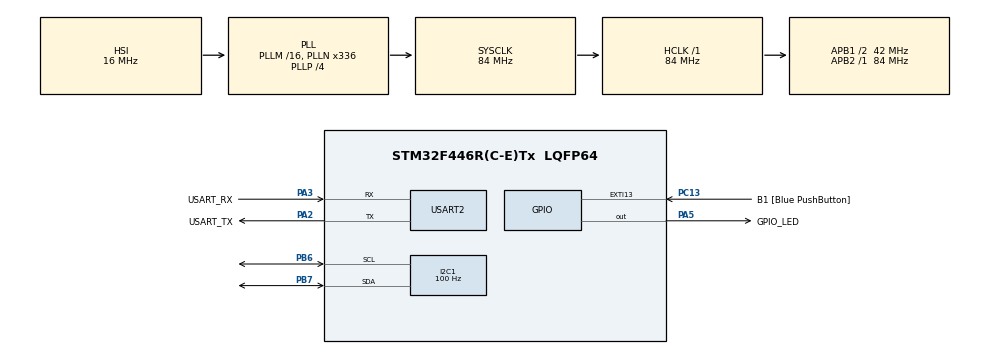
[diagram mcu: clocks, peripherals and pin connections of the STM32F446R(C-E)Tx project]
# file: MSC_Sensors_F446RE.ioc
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I2C1.ClockSpeed=100
Mcu.Family=STM32F4
Mcu.Name=STM32F446R(C-E)Tx
Mcu.Package=LQFP64
NVIC.PriorityGroup=NVIC_PRIORITYGROUP_0
PA13.GPIO_Label=TMS
PA13.Mode=Serial_Wire
PA13.Signal=SYS_JTMS-SWDIO
PA14.GPIO_Label=TCK
PA14.Mode=Serial_Wire
PA14.Signal=SYS_JTCK-SWCLK
PA2.GPIO_Label=USART_TX
PA2.Mode=Asynchronous
PA2.Signal=USART2_TX
PA3.GPIO_Label=USART_RX
PA3.Mode=Asynchronous
PA3.Signal=USART2_RX
PA5.GPIO_Label=GPIO_LED
PA5.Signal=GPIO_Output
PB6.Mode=I2C
PB6.Signal=I2C1_SCL
PB7.Mode=I2C
PB7.Signal=I2C1_SDA
PC13.GPIO_Label=B1 [Blue PushButton]
PC13.GPIO_ModeDefaultEXTI=GPIO_MODE_IT_FALLING
PC13.Signal=GPXTI13
PC14-OSC32_IN.Mode=LSE-External-Oscillator
PC14-OSC32_IN.Signal=RCC_OSC32_IN
PC15-OSC32_OUT.Mode=LSE-External-Oscillator
PC15-OSC32_OUT.Signal=RCC_OSC32_OUT
PH0-OSC_IN.Mode=HSE-External-Oscillator
PH0-OSC_IN.Signal=RCC_OSC_IN
PH1-OSC_OUT.Mode=HSE-External-Oscillator
PH1-OSC_OUT.Signal=RCC_OSC_OUT
ProjectManager.HeapSize=0x200
ProjectManager.StackSize=0x400
ProjectManager.TargetToolchain=STM32CubeIDE
RCC.48MHZClocksFreq_Value=84000000
RCC.AHBFreq_Value=84000000
RCC.APB1CLKDivider=RCC_HCLK_DIV2
RCC.APB1Freq_Value=42000000
RCC.APB1TimFreq_Value=84000000
RCC.APB2Freq_Value=84000000
RCC.APB2TimFreq_Value=84000000
RCC.CortexFreq_Value=84000000
RCC.FLatency-AdvancedSettings=FLASH_LATENCY_2
RCC.HCLKFreq_Value=84000000
RCC.HSE_VALUE=8000000
RCC.HSI_VALUE=16000000
RCC.PLLN=336
RCC.PLLP=RCC_PLLP_DIV4
RCC.SYSCLKFreq_VALUE=84000000
RCC.SYSCLKSource=RCC_SYSCLKSOURCE_PLLCLK
RCC.USBFreq_Value=168000000
RCC.VCOOutputFreq_Value=336000000
USART2.VirtualMode=VM_ASYNC
board=NUCLEO-F446RE

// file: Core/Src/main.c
/* USER CODE BEGIN Header */
/**
  ******************************************************************************
  * @file           : main.c
  * @brief          : Main program body
  ******************************************************************************
  * @attention
  *
  * Copyright (c) 2023 STMicroelectronics.
  * All rights reserved.
  *
  * This software is licensed under terms that can be found in the LICENSE file
  * in the root directory of this software component.
  * If no LICENSE file comes with this software, it is provided AS-IS.
  *
  ******************************************************************************
  */
/* USER CODE END Header */
#include "main.h"

/* USER CODE BEGIN Includes */
//#include "../../Utilities/Fonts/fonts.h"
//#include "../../Drivers/BSP/inc/stm32746g_discovery.h"
//#include "../../Drivers/BSP/inc/stm32746g_discovery_sdram.h"
//#include "../../Drivers/BSP/inc/stm32746g_discovery_ts.h"
//#include "../../Drivers/BSP/inc/stm32746g_discovery_lcd.h"
//#include "../../Drivers/BSP/inc/stm32746g_discovery_lcd.h"
#include "stdio.h"
#include <math.h>
#include "Const.h"
/* USER CODE END Includes */

/* USER CODE BEGIN PD */
//HAL_I2C_Mem_Read(&hi2c1,MPU_ADDRESS,ID_ADDRESS,1,&MPU_identity,1,10
#define ID_ADDRESS 0x75
#define MPU_ADDRESS 0xD0
#define ID_VALUE_MPU 0x
/* USER CODE END PD */

I2C_HandleTypeDef hi2c1;

UART_HandleTypeDef huart2;

/* USER CODE BEGIN PV */

char mess[30];
int devAdd[256];
uint8_t MPU_identity;
double TempReceived;
double AccelReceived[3];
double SpeedReceived[3];
double MagReceived[3];

double Accel;
double Speed;
double Mag;
double offset;

/* USER CODE END PV */

void SystemClock_Config(void);
static void MX_GPIO_Init(void);
static void MX_USART2_UART_Init(void);
static void MX_I2C1_Init(void);

/* USER CODE BEGIN 0 */
int __io_putchar(int ch)
{
	HAL_UART_Transmit(&huart2, (uint8_t*)&ch, 1, HAL_MAX_DELAY);

	return ch;
}
/* USER CODE END 0 */

int main(void)
{

  /* MCU Configuration--------------------------------------------------------*/

  /* Reset of all peripherals, Initializes the Flash interface and the Systick. */
  HAL_Init();

  /* Configure the system clock */
  SystemClock_Config();

  /* Initialize all configured peripherals */
  MX_GPIO_Init();
  MX_USART2_UART_Init();
  MX_I2C1_Init();
  /* USER CODE BEGIN 2 */

	//===================================================================================================
	//Allumage/Exctinction de la LED
	HAL_GPIO_WritePin(GPIO_LED_GPIO_Port,GPIO_LED_Pin,GPIO_PIN_SET);
	HAL_Delay(1000);
	HAL_GPIO_WritePin(GPIO_LED_GPIO_Port,GPIO_LED_Pin,GPIO_PIN_RESET);
	//===================================================================================================

	//Initialisation du capteur

	Init(&hi2c1);

	//===================================================================================================
	//Affichage des adresses des péiphériques connectés à l'I2C
	int c=0;
	int i=0;
	printf("\r\nList of devices:\r\n");
	for(i=0; i<256; i++)
	{
		if(HAL_I2C_IsDeviceReady(&hi2c1,i,10,20)==HAL_OK)
		{
			devAdd[c] = i;
			printf("%d\r\n",devAdd[c]);
			c++;
		}
	}

	printf("\r\n");
	//===================================================================================================

	//===================================================================================================

	//Identité du capteur

	printf("Who Am I?\r\n");
	if(HAL_I2C_Mem_Read(&hi2c1,MPU_ADDRESS,ID_ADDRESS,1,&MPU_identity,1,10)!=HAL_OK)
	{
		printf("Error : I don't know who I am...\r\n");
		Error_Handler();
	}
	printf("%d\r\n",MPU_identity);

	if(MPU_identity == 0x71)
	{
		printf("I am the MPU-9250, nice to meet you\r\n");
	}
	else
	{
		printf("I am not the MPU-9250\r\n");
	}

	//GetAccelOffset(&hi2c1);

	Measure_T(&hi2c1, &TempReceived);
	Measure_A(&hi2c1, &AccelReceived);
	Measure_S(&hi2c1, &SpeedReceived);
	Measure_M(&hi2c1, &MagReceived);

	Speed = sqrt(SpeedReceived[0]*SpeedReceived[0] + SpeedReceived[1]*SpeedReceived[1] + SpeedReceived[2]*SpeedReceived[2]);
	printf("Total speed : %f\r\n\r\n",Speed);

	Accel = sqrt(AccelReceived[0]*AccelReceived[0] + AccelReceived[1]*AccelReceived[1] + AccelReceived[2]*AccelReceived[2]);
	printf("Total accel : %f\r\n\r\n",Accel);

	Mag = sqrt(MagReceived[0]*MagReceived[0] + MagReceived[1]*MagReceived[1] + MagReceived[2]*MagReceived[2]);
	printf("Total Mag : %f\r\n\r\n",Mag);

  /* USER CODE END 2 */

  /* Infinite loop */
  /* USER CODE BEGIN WHILE */
  while (1)
  {
	/*
	Measure_T(&hi2c1,&TempReceived);
	Measure_A(&hi2c1,&AccelReceived);
	Measure_S(&hi2c1,&SpeedReceived);
	*/

    /* USER CODE END WHILE */

  }
}

void SystemClock_Config(void)
{
  RCC_OscInitTypeDef RCC_OscInitStruct = {0};
  RCC_ClkInitTypeDef RCC_ClkInitStruct = {0};

  /** Configure the main internal regulator output voltage
  */
  __HAL_RCC_PWR_CLK_ENABLE();
  __HAL_PWR_VOLTAGESCALING_CONFIG(PWR_REGULATOR_VOLTAGE_SCALE3);

  /** Initializes the RCC Oscillators according to the specified parameters
  * in the RCC_OscInitTypeDef structure.
  */
  RCC_OscInitStruct.OscillatorType = RCC_OSCILLATORTYPE_HSI;
  RCC_OscInitStruct.HSIState = RCC_HSI_ON;
  RCC_OscInitStruct.HSICalibrationValue = RCC_HSICALIBRATION_DEFAULT;
  RCC_OscInitStruct.PLL.PLLState = RCC_PLL_ON;
  RCC_OscInitStruct.PLL.PLLSource = RCC_PLLSOURCE_HSI;
  RCC_OscInitStruct.PLL.PLLM = 16;
  RCC_OscInitStruct.PLL.PLLN = 336;
  RCC_OscInitStruct.PLL.PLLP = RCC_PLLP_DIV4;
  RCC_OscInitStruct.PLL.PLLQ = 2;
  RCC_OscInitStruct.PLL.PLLR = 2;
  if (HAL_RCC_OscConfig(&RCC_OscInitStruct) != HAL_OK)
  {
    Error_Handler();
  }

  /** Initializes the CPU, AHB and APB buses clocks
  */
  RCC_ClkInitStruct.ClockType = RCC_CLOCKTYPE_HCLK|RCC_CLOCKTYPE_SYSCLK
                              |RCC_CLOCKTYPE_PCLK1|RCC_CLOCKTYPE_PCLK2;
  RCC_ClkInitStruct.SYSCLKSource = RCC_SYSCLKSOURCE_PLLCLK;
  RCC_ClkInitStruct.AHBCLKDivider = RCC_SYSCLK_DIV1;
  RCC_ClkInitStruct.APB1CLKDivider = RCC_HCLK_DIV2;
  RCC_ClkInitStruct.APB2CLKDivider = RCC_HCLK_DIV1;

  if (HAL_RCC_ClockConfig(&RCC_ClkInitStruct, FLASH_LATENCY_2) != HAL_OK)
  {
    Error_Handler();
  }
}

static void MX_I2C1_Init(void)
{

  hi2c1.Instance = I2C1;
  hi2c1.Init.ClockSpeed = 100;
  hi2c1.Init.DutyCycle = I2C_DUTYCYCLE_2;
  hi2c1.Init.OwnAddress1 = 0;
  hi2c1.Init.AddressingMode = I2C_ADDRESSINGMODE_7BIT;
  hi2c1.Init.DualAddressMode = I2C_DUALADDRESS_DISABLE;
  hi2c1.Init.OwnAddress2 = 0;
  hi2c1.Init.GeneralCallMode = I2C_GENERALCALL_DISABLE;
  hi2c1.Init.NoStretchMode = I2C_NOSTRETCH_DISABLE;
  if (HAL_I2C_Init(&hi2c1) != HAL_OK)
  {
    Error_Handler();
  }

}

static void MX_USART2_UART_Init(void)
{

  huart2.Instance = USART2;
  huart2.Init.BaudRate = 115200;
  huart2.Init.WordLength = UART_WORDLENGTH_8B;
  huart2.Init.StopBits = UART_STOPBITS_1;
  huart2.Init.Parity = UART_PARITY_NONE;
  huart2.Init.Mode = UART_MODE_TX_RX;
  huart2.Init.HwFlowCtl = UART_HWCONTROL_NONE;
  huart2.Init.OverSampling = UART_OVERSAMPLING_16;
  if (HAL_UART_Init(&huart2) != HAL_OK)
  {
    Error_Handler();
  }

}

static void MX_GPIO_Init(void)
{
  GPIO_InitTypeDef GPIO_InitStruct = {0};

  /* GPIO Ports Clock Enable */
  __HAL_RCC_GPIOC_CLK_ENABLE();
  __HAL_RCC_GPIOH_CLK_ENABLE();
  __HAL_RCC_GPIOA_CLK_ENABLE();
  __HAL_RCC_GPIOB_CLK_ENABLE();

  /*Configure GPIO pin Output Level */
  HAL_GPIO_WritePin(GPIO_LED_GPIO_Port, GPIO_LED_Pin, GPIO_PIN_RESET);

  /*Configure GPIO pin : B1_Pin */
  GPIO_InitStruct.Pin = B1_Pin;
  GPIO_InitStruct.Mode = GPIO_MODE_IT_FALLING;
  GPIO_InitStruct.Pull = GPIO_NOPULL;
  HAL_GPIO_Init(B1_GPIO_Port, &GPIO_InitStruct);

  /*Configure GPIO pin : GPIO_LED_Pin */
  GPIO_InitStruct.Pin = GPIO_LED_Pin;
  GPIO_InitStruct.Mode = GPIO_MODE_OUTPUT_PP;
  GPIO_InitStruct.Pull = GPIO_NOPULL;
  GPIO_InitStruct.Speed = GPIO_SPEED_FREQ_LOW;
  HAL_GPIO_Init(GPIO_LED_GPIO_Port, &GPIO_InitStruct);

}

/* USER CODE BEGIN 4 */
/**
 * @brief Toggle LED
 * @Note Cette fonction permet de faire clignoter la led verte pendant 3 secondes, afin d'indiquer une erreur
 * @param None
 * @retval None
 */
void ToggleLed()
{
	for(int i=0; i<6; i++)
	{
		HAL_GPIO_WritePin(GPIO_LED_GPIO_Port,GPIO_LED_Pin,GPIO_PIN_SET);
		HAL_Delay(500);
		HAL_GPIO_WritePin(GPIO_LED_GPIO_Port,GPIO_LED_Pin,GPIO_PIN_RESET);
		HAL_Delay(500);
	}

}
/* USER CODE END 4 */

void Error_Handler(void)
{
  /* USER CODE BEGIN Error_Handler_Debug */
  /* User can add his own implementation to report the HAL error return state */
	//Allumage de la LED
	ToggleLed();
	//HAL_GPIO_WritePin(GPIO_LED_GPIO_Port,GPIO_LED_Pin,GPIO_PIN_SET);
	printf("\n\rERROR\n\r");
  /* USER CODE END Error_Handler_Debug */
}
